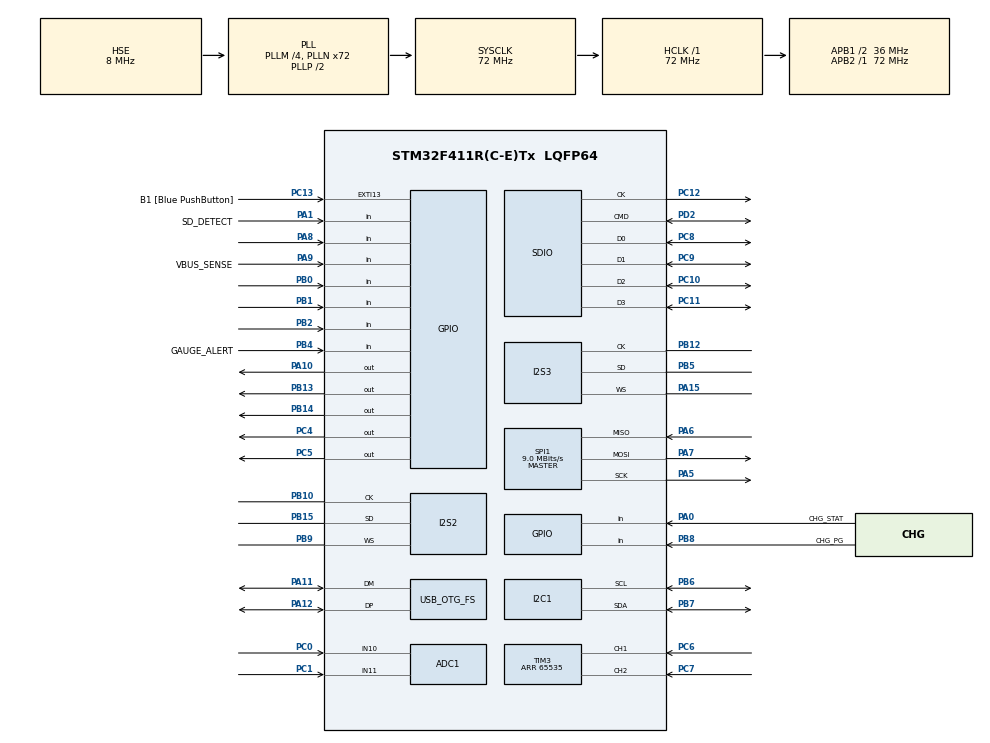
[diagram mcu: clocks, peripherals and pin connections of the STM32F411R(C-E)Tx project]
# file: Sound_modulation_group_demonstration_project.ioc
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ADC1.Channel-0\#ChannelRegularConversion=ADC_CHANNEL_10
ADC1.NbrOfConversion=1
ADC1.NbrOfConversionFlag=1
ADC1.Rank-0\#ChannelRegularConversion=1
ADC1.SamplingTime-0\#ChannelRegularConversion=ADC_SAMPLETIME_3CYCLES
ADC1.master=1
Dma.Request0=SPI3_TX
Dma.Request1=SPI2_RX
Dma.Request2=SDIO_RX
Dma.Request3=SDIO_TX
Dma.SDIO_RX.2.Direction=DMA_PERIPH_TO_MEMORY
Dma.SDIO_RX.2.FIFOMode=DMA_FIFOMODE_ENABLE
Dma.SDIO_RX.2.FIFOThreshold=DMA_FIFO_THRESHOLD_FULL
Dma.SDIO_RX.2.Instance=DMA2_Stream3
Dma.SDIO_RX.2.MemBurst=DMA_MBURST_INC4
Dma.SDIO_RX.2.MemDataAlignment=DMA_MDATAALIGN_WORD
Dma.SDIO_RX.2.MemInc=DMA_MINC_ENABLE
Dma.SDIO_RX.2.Mode=DMA_PFCTRL
Dma.SDIO_RX.2.PeriphBurst=DMA_PBURST_INC4
Dma.SDIO_RX.2.PeriphDataAlignment=DMA_PDATAALIGN_WORD
Dma.SDIO_RX.2.PeriphInc=DMA_PINC_DISABLE
Dma.SDIO_RX.2.Priority=DMA_PRIORITY_VERY_HIGH
Dma.SDIO_TX.3.Direction=DMA_MEMORY_TO_PERIPH
Dma.SDIO_TX.3.FIFOMode=DMA_FIFOMODE_ENABLE
Dma.SDIO_TX.3.FIFOThreshold=DMA_FIFO_THRESHOLD_FULL
Dma.SDIO_TX.3.Instance=DMA2_Stream6
Dma.SDIO_TX.3.MemBurst=DMA_MBURST_INC4
Dma.SDIO_TX.3.MemDataAlignment=DMA_MDATAALIGN_WORD
Dma.SDIO_TX.3.MemInc=DMA_MINC_ENABLE
Dma.SDIO_TX.3.Mode=DMA_PFCTRL
Dma.SDIO_TX.3.PeriphBurst=DMA_PBURST_INC4
Dma.SDIO_TX.3.PeriphDataAlignment=DMA_PDATAALIGN_WORD
Dma.SDIO_TX.3.PeriphInc=DMA_PINC_DISABLE
Dma.SDIO_TX.3.Priority=DMA_PRIORITY_VERY_HIGH
Dma.SPI2_RX.1.Direction=DMA_PERIPH_TO_MEMORY
Dma.SPI2_RX.1.FIFOMode=DMA_FIFOMODE_DISABLE
Dma.SPI2_RX.1.Instance=DMA1_Stream3
Dma.SPI2_RX.1.MemDataAlignment=DMA_MDATAALIGN_HALFWORD
Dma.SPI2_RX.1.MemInc=DMA_MINC_ENABLE
Dma.SPI2_RX.1.Mode=DMA_CIRCULAR
Dma.SPI2_RX.1.PeriphDataAlignment=DMA_PDATAALIGN_HALFWORD
Dma.SPI2_RX.1.PeriphInc=DMA_PINC_DISABLE
Dma.SPI2_RX.1.Priority=DMA_PRIORITY_LOW
Dma.SPI3_TX.0.Direction=DMA_MEMORY_TO_PERIPH
Dma.SPI3_TX.0.FIFOMode=DMA_FIFOMODE_DISABLE
Dma.SPI3_TX.0.Instance=DMA1_Stream5
Dma.SPI3_TX.0.MemDataAlignment=DMA_MDATAALIGN_HALFWORD
Dma.SPI3_TX.0.MemInc=DMA_MINC_ENABLE
Dma.SPI3_TX.0.Mode=DMA_CIRCULAR
Dma.SPI3_TX.0.PeriphDataAlignment=DMA_PDATAALIGN_HALFWORD
Dma.SPI3_TX.0.PeriphInc=DMA_PINC_DISABLE
Dma.SPI3_TX.0.Priority=DMA_PRIORITY_LOW
FATFS.BSP.number=1
FATFS._FS_REENTRANT=0
FATFS._USE_EXPAND=1
FATFS0.BSP.STBoard=false
FATFS0.BSP.api=Unknown
FATFS0.BSP.instance=PA1
FATFS0.BSP.ip=GPIO
FATFS0.BSP.mode=Input
FATFS0.BSP.name=Detect_SDIO
FATFS0.BSP.solution=PA1
FREERTOS.Tasks01=JackAudioTask,40,768,StartJackAudioTask,Default,NULL,Dynamic,NULL,NULL;TomTask,32,1024,StartTomTask,Default,NULL,Dynamic,NULL,NULL;JackStorageTask,24,1024,StartJackStorageTask,Default,NULL,Dynamic,NULL,NULL;BrendonTask,16,768,StartBrendonTask,Default,NULL,Dynamic,NULL,NULL;TonyTask,8,768,StartTonyTask,Default,NULL,Dynamic,NULL,NULL
FREERTOS.configCHECK_FOR_STACK_OVERFLOW=2
FREERTOS.configENABLE_FPU=1
FREERTOS.configTOTAL_HEAP_SIZE=28672
FREERTOS.configUSE_NEWLIB_REENTRANT=1
I2S2.AudioFreq=AudioFreqCustomValue
I2S2.AudioFreqCustom=64000
I2S2.ErrorAudioFreq=-0.26 %
I2S2.FullDuplexMode=I2S_FULLDUPLEXMODE_DISABLE
I2S2.Instance=SPI$Index
I2S2.Mode=I2S_MODE_MASTER_RX
I2S2.RealAudioFreq=63.829 KHz
I2S2.VirtualMode=I2S_MODE_MASTER
I2S3.AudioFreq=I2S_AUDIOFREQ_48K
I2S3.ErrorAudioFreq=-0.79 %
I2S3.FullDuplexMode=I2S_FULLDUPLEXMODE_DISABLE
I2S3.Instance=SPI$Index
I2S3.RealAudioFreq=47.619 KHz
I2S3.VirtualMode=I2S_MODE_MASTER
Mcu.Family=STM32F4
Mcu.Name=STM32F411R(C-E)Tx
Mcu.Package=LQFP64
NVIC.DMA1_Stream3_IRQn=true\:5\:0\:false\:false\:true\:true\:false\:true\:true
NVIC.DMA1_Stream5_IRQn=true\:5\:0\:false\:false\:true\:true\:false\:true\:true
NVIC.DMA2_Stream3_IRQn=true\:5\:0\:false\:false\:true\:true\:false\:true\:true
NVIC.DMA2_Stream6_IRQn=true\:5\:0\:false\:false\:true\:true\:false\:true\:true
NVIC.OTG_FS_IRQn=true\:6\:0\:true\:false\:true\:true\:false\:true\:true
NVIC.PriorityGroup=NVIC_PRIORITYGROUP_4
NVIC.SDIO_IRQn=true\:5\:0\:false\:false\:true\:true\:false\:true\:true
NVIC.TIM5_IRQn=true\:15\:0\:false\:false\:true\:false\:false\:true\:true
NVIC.TimeBase=TIM5_IRQn
NVIC.TimeBaseIP=TIM5
PA0-WKUP.GPIO_Label=CHG_STAT
PA0-WKUP.GPIO_PuPd=GPIO_PULLUP
PA0-WKUP.Signal=GPIO_Input
PA1.GPIO_Label=SD_DETECT
PA1.GPIO_PuPd=GPIO_PULLUP
PA1.Signal=GPIO_Input
PA10.Signal=GPIO_Output
PA11.Mode=Device_Only
PA11.Signal=USB_OTG_FS_DM
PA12.Mode=Device_Only
PA12.Signal=USB_OTG_FS_DP
PA13.GPIO_Label=TMS
PA13.Mode=Serial_Wire
PA13.Signal=SYS_JTMS-SWDIO
PA14.GPIO_Label=TCK
PA14.Mode=Serial_Wire
PA14.Signal=SYS_JTCK-SWCLK
PA15.Mode=Half_Duplex_Master
PA15.Signal=I2S3_WS
PA5.Mode=Full_Duplex_Master
PA5.Signal=SPI1_SCK
PA6.Mode=Full_Duplex_Master
PA6.Signal=SPI1_MISO
PA7.Mode=Full_Duplex_Master
PA7.Signal=SPI1_MOSI
PA8.GPIO_PuPd=GPIO_PULLUP
PA8.Signal=GPIO_Input
PA9.GPIO_Label=VBUS_SENSE
PA9.Signal=GPIO_Input
PB0.GPIO_PuPd=GPIO_PULLUP
PB0.Signal=GPIO_Input
PB1.GPIO_PuPd=GPIO_PULLUP
PB1.Signal=GPIO_Input
PB10.Mode=Half_Duplex_Master
PB10.Signal=I2S2_CK
PB12.Mode=Half_Duplex_Master
PB12.Signal=I2S3_CK
PB13.Signal=GPIO_Output
PB14.Signal=GPIO_Output
PB15.Mode=Half_Duplex_Master
PB15.Signal=I2S2_SD
PB2.GPIO_PuPd=GPIO_PULLUP
PB2.Signal=GPIO_Input
PB3.Signal=SYS_JTDO-SWO
PB4.GPIO_Label=GAUGE_ALERT
PB4.GPIO_PuPd=GPIO_PULLUP
PB4.Signal=GPIO_Input
PB5.Mode=Half_Duplex_Master
PB5.Signal=I2S3_SD
PB6.Mode=I2C
PB6.Signal=I2C1_SCL
PB7.Mode=I2C
PB7.Signal=I2C1_SDA
PB8.GPIO_Label=CHG_PG
PB8.GPIO_PuPd=GPIO_PULLUP
PB8.Signal=GPIO_Input
PB9.Mode=Half_Duplex_Master
PB9.Signal=I2S2_WS
PC0.Signal=ADCx_IN10
PC1.Signal=ADCx_IN11
PC10.GPIO_PuPd=GPIO_PULLUP
PC10.Mode=SD_4_bits_Wide_bus
PC10.Signal=SDIO_D2
PC11.GPIO_PuPd=GPIO_PULLUP
PC11.Mode=SD_4_bits_Wide_bus
PC11.Signal=SDIO_D3
PC12.Mode=SD_4_bits_Wide_bus
PC12.Signal=SDIO_CK
PC13-ANTI_TAMP.GPIO_Label=B1 [Blue PushButton]
PC13-ANTI_TAMP.GPIO_ModeDefaultEXTI=GPIO_MODE_IT_FALLING
PC13-ANTI_TAMP.Signal=GPXTI13
PC14-OSC32_IN.Signal=RCC_OSC32_IN
PC15-OSC32_OUT.Signal=RCC_OSC32_OUT
PC4.Signal=GPIO_Output
PC5.Signal=GPIO_Output
PC6.GPIO_PuPd=GPIO_PULLUP
PC6.Signal=S_TIM3_CH1
PC7.GPIO_PuPd=GPIO_PULLUP
PC7.Signal=S_TIM3_CH2
PC8.GPIO_PuPd=GPIO_PULLUP
PC8.Mode=SD_4_bits_Wide_bus
PC8.Signal=SDIO_D0
PC9.GPIO_PuPd=GPIO_PULLUP
PC9.Mode=SD_4_bits_Wide_bus
PC9.Signal=SDIO_D1
PD2.GPIO_PuPd=GPIO_PULLUP
PD2.Mode=SD_4_bits_Wide_bus
PD2.Signal=SDIO_CMD
PH0\ -\ OSC_IN.Mode=HSE-External-Oscillator
PH0\ -\ OSC_IN.Signal=RCC_OSC_IN
PH1\ -\ OSC_OUT.Mode=HSE-External-Oscillator
PH1\ -\ OSC_OUT.Signal=RCC_OSC_OUT
ProjectManager.HeapSize=0x200
ProjectManager.StackSize=0x400
ProjectManager.TargetToolchain=CMake
RCC.48MHZClocksFreq_Value=48000000
RCC.AHBFreq_Value=72000000
RCC.APB1CLKDivider=RCC_HCLK_DIV2
RCC.APB1Freq_Value=36000000
RCC.APB1TimFreq_Value=72000000
RCC.APB2Freq_Value=72000000
RCC.APB2TimFreq_Value=72000000
RCC.CortexFreq_Value=72000000
RCC.FLatency-AdvancedSettings=FLASH_LATENCY_2
RCC.HCLKFreq_Value=72000000
RCC.HSE_VALUE=8000000
RCC.HSI_VALUE=16000000
RCC.LSE_VALUE=32768
RCC.PLLI2SM=4
RCC.PLLI2SR=4
RCC.PLLM=4
RCC.PLLN=72
RCC.PLLQ=3
RCC.SYSCLKFreq_VALUE=72000000
RCC.SYSCLKSource=RCC_SYSCLKSOURCE_PLLCLK
RCC.VCOOutputFreq_Value=144000000
SDIO.ClockDiv=4
SDIO.HardwareFlowControl=SDIO_HARDWARE_FLOW_CONTROL_DISABLE
SH.ADCx_IN10.0=ADC1_IN10,IN10
SH.ADCx_IN11.0=ADC1_IN11,IN11
SH.S_TIM3_CH1.0=TIM3_CH1,Encoder_Interface
SH.S_TIM3_CH2.0=TIM3_CH2,Encoder_Interface
SPI1.BaudRatePrescaler=SPI_BAUDRATEPRESCALER_8
SPI1.CalculateBaudRate=9.0 MBits/s
SPI1.Direction=SPI_DIRECTION_2LINES
SPI1.Mode=SPI_MODE_MASTER
SPI1.VirtualType=VM_MASTER
TIM3.ClockDivision=TIM_CLOCKDIVISION_DIV4
TIM3.EncoderMode=TIM_ENCODERMODE_TI12
TIM3.IC1Filter=15
TIM3.IC2Filter=15
TIM3.Period=65535
USB_DEVICE.CLASS_NAME_FS=MSC
USB_DEVICE.VirtualMode=Msc
USB_DEVICE.VirtualModeFS=Msc_FS
USB_OTG_FS.VirtualMode=Device_Only
VP_CRC_VS_CRC.Mode=CRC_Activate
VP_FATFS_VS_SDIO.Mode=SDIO
VP_FREERTOS_VS_CMSIS_V2.Mode=CMSIS_V2
VP_SYS_VS_tim5.Mode=TIM5
VP_USB_DEVICE_VS_USB_DEVICE_MSC_FS.Mode=MSC_FS
board=NUCLEO-F411RE

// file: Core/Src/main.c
/* USER CODE BEGIN Header */
/**
  ******************************************************************************
  * @file           : main.c
  * @brief          : Main program body
  ******************************************************************************
  * @attention
  *
  * Copyright (c) 2026 STMicroelectronics.
  * All rights reserved.
  *
  * This software is licensed under terms that can be found in the LICENSE file
  * in the root directory of this software component.
  * If no LICENSE file comes with this software, it is provided AS-IS.
  *
  ******************************************************************************
  */
/* USER CODE END Header */
#include "main.h"
#include "cmsis_os.h"
#include "fatfs.h"

/* USER CODE BEGIN Includes */
/* TEAM CODE (integration: Brendon): headers of the team modules */
/* main.c is generated by STM32CubeMX from the .ioc. The team's code is only
 * in the USER CODE blocks, which CubeMX keeps when it regenerates the file.
 * What main() does at power-on, in order:
 *   1. HAL_Init, the HSE clock probe (USER CODE Init) and SystemClock_Config:
 *      a 72 MHz CPU clock made by the PLL from the 8 MHz HSE clock.
 *   2. MX_*_Init: every peripheral as set in the .ioc (pins, DMA, interrupts).
 *   3. USER CODE 2: each member's X_Init() (hardware and module state only:
 *      no queue exists yet).
 *   4. osKernelInitialize, then App_RTOS_Init (USER CODE RTOS_QUEUES): every
 *      queue, pool and semaphore of app_rtos.h, and the sixth task,
 *      FxRenderTask.
 *   5. The five generated osThreadNew calls: one per CubeMX task. Each runs
 *      its Start*Task function at the bottom of this file.
 *   6. osKernelStart: the FreeRTOS scheduler takes over and never returns.
 * The HAL callbacks in USER CODE 0 are where interrupts hand work to tasks
 * (HAL = ST's hardware driver library, the HAL_* functions).
 * The serial console (USART2, LogTask, the boot banner and the solo builds)
 * was removed on 1 Nov 2026; faults show on the TFT fault screen. */
#include "app_rtos.h"
#include "tony_ports.h"
#include "brendon_battery_usb.h"
#include "brendon_ports.h"
#include "jack_audio_sd.h"
#include "tom_dac_output.h"
#include "tony_ui.h"
/* USER CODE END Includes */

ADC_HandleTypeDef hadc1;

CRC_HandleTypeDef hcrc;

I2C_HandleTypeDef hi2c1;

I2S_HandleTypeDef hi2s2;
I2S_HandleTypeDef hi2s3;
DMA_HandleTypeDef hdma_spi2_rx;
DMA_HandleTypeDef hdma_spi3_tx;

SD_HandleTypeDef hsd;
DMA_HandleTypeDef hdma_sdio_rx;
DMA_HandleTypeDef hdma_sdio_tx;

SPI_HandleTypeDef hspi1;

TIM_HandleTypeDef htim3;

/* Definitions for JackAudioTask */
osThreadId_t JackAudioTaskHandle;
const osThreadAttr_t JackAudioTask_attributes = {
  .name = "JackAudioTask",
  .stack_size = 768 * 4,
  .priority = (osPriority_t) osPriorityHigh,
};
/* Definitions for TomTask */
osThreadId_t TomTaskHandle;
const osThreadAttr_t TomTask_attributes = {
  .name = "TomTask",
  .stack_size = 1024 * 4,
  .priority = (osPriority_t) osPriorityAboveNormal,
};
/* Definitions for JackStorageTask */
osThreadId_t JackStorageTaskHandle;
const osThreadAttr_t JackStorageTask_attributes = {
  .name = "JackStorageTask",
  .stack_size = 1024 * 4,
  .priority = (osPriority_t) osPriorityNormal,
};
/* Definitions for BrendonTask */
osThreadId_t BrendonTaskHandle;
const osThreadAttr_t BrendonTask_attributes = {
  .name = "BrendonTask",
  .stack_size = 768 * 4,
  .priority = (osPriority_t) osPriorityBelowNormal,
};
/* Definitions for TonyTask */
osThreadId_t TonyTaskHandle;
const osThreadAttr_t TonyTask_attributes = {
  .name = "TonyTask",
  .stack_size = 768 * 4,
  .priority = (osPriority_t) osPriorityLow,
};

void SystemClock_Config(void);
void PeriphCommonClock_Config(void);
static void MX_GPIO_Init(void);
static void MX_DMA_Init(void);
static void MX_ADC1_Init(void);
static void MX_CRC_Init(void);
static void MX_I2C1_Init(void);
static void MX_I2S2_Init(void);
static void MX_I2S3_Init(void);
static void MX_SDIO_SD_Init(void);
static void MX_SPI1_Init(void);
static void MX_TIM3_Init(void);
void StartJackAudioTask(void *argument);
void StartTomTask(void *argument);
void StartJackStorageTask(void *argument);
void StartBrendonTask(void *argument);
void StartTonyTask(void *argument);

/* USER CODE BEGIN PFP */
/* TEAM CODE (integration: Brendon): prototype for the HSE probe */
static void clock_probe_hse(void);
/* USER CODE END PFP */

/* USER CODE BEGIN 0 */
/* TEAM CODE (integration: Brendon): HSE clock probe and the HAL callbacks (callback owners marked below) */

/* ---- HSE source probe -------------------------------------------------------
 * HSE = the high-speed external clock input (pins OSC_IN / OSC_OUT); the PLL
 * turns its 8 MHz into the 72 MHz CPU clock (SystemClock_Config).
 * The .ioc is set up for the PCB: HSE = 8 MHz crystal (RCC_HSE_ON in
 * SystemClock_Config). The Nucleo-F411RE the team also tests on has no crystal
 * fitted; its 8 MHz comes from the ST-LINK MCO into OSC_IN, which needs BYPASS.
 * Rather than keeping two builds, probe before SystemClock_Config() runs:
 *   1) BYPASS (amplifier off, OSC_IN driven externally). This is the
 *      configuration every board test so far ran on. A passive crystal cannot
 *      produce a clock with the amplifier off, so on the PCB HSERDY stays 0.
 *   2) otherwise crystal mode (HSEBYP cleared).
 * Bypass is tried first because the reverse order is ambiguous: an MCO-driven
 * OSC_IN can also satisfy the crystal-mode amplifier. HAL_RCC_OscConfig() with
 * RCC_HSE_ON only sets HSEON and leaves HSEBYP as the probe left it, so the
 * generated code then brings the PLL up from whichever source started. Costs
 * at most HSE_STARTUP_TIMEOUT (100 ms) once, on the crystal board. */
static uint8_t hse_ready_within(uint32_t timeout_ms)
{
    uint32_t t0 = HAL_GetTick();
    while (READ_BIT(RCC->CR, RCC_CR_HSERDY) == 0U)
    {
        if ((HAL_GetTick() - t0) > timeout_ms)
        {
            return 0U;
        }
    }
    return 1U;
}

static void clock_probe_hse(void)
{
    /* 1) external clock on OSC_IN (Nucleo ST-LINK MCO) */
    CLEAR_BIT(RCC->CR, RCC_CR_HSEON);
    SET_BIT(RCC->CR, RCC_CR_HSEBYP);
    SET_BIT(RCC->CR, RCC_CR_HSEON);
    if (hse_ready_within(HSE_STARTUP_TIMEOUT))
    {
        return;   /* Nucleo: leave bypass mode set for SystemClock_Config() */
    }

    /* 2) crystal (PCB). HSEBYP may only change while HSE is off. */
    CLEAR_BIT(RCC->CR, RCC_CR_HSEON);
    while (READ_BIT(RCC->CR, RCC_CR_HSERDY) != 0U) { }
    CLEAR_BIT(RCC->CR, RCC_CR_HSEBYP);
    SET_BIT(RCC->CR, RCC_CR_HSEON);
    (void)hse_ready_within(HSE_STARTUP_TIMEOUT);   /* SystemClock_Config() re-checks; Error_Handler() if neither */
}

/* ---- HAL callbacks (ISR context). Rule: only flags, timeout-0 queue puts,
 * semaphore releases and pointer bookkeeping happen here — no text
 * formatting, no memcpy of audio (lecture 07). All IRQs that reach these run
 * at NVIC priority >= 5 (configLIBRARY_MAX_SYSCALL_INTERRUPT_PRIORITY). ---- */
/* ISR = interrupt service routine: the code the CPU runs when an interrupt
 * fires. The path is always the same: the peripheral's IRQ handler
 * (stm32f4xx_it.c) calls the HAL, the HAL calls one of the callbacks below,
 * and the callback sets a thread flag on the task that owns the peripheral.
 * That task wakes up in osThreadFlagsWait and does the real work at its own
 * priority. Why the callbacks do so little:
 *   - an ISR is not a task and can never wait, so a queue put from an ISR
 *     must use timeout 0 (the CMSIS-RTOS layer refuses any other timeout
 *     there); a full queue drops the item and counts it (slide 18);
 *   - while an ISR runs, every task and every less urgent interrupt waits,
 *     so it must be short: no text formatting (slow, and it needs a lot of
 *     stack) and no copying of audio;
 *   - handing over costs nothing: if the woken task outranks the one that
 *     was interrupted, FreeRTOS switches to it as soon as the ISR ends.
 * Why priority 5 or more: in the NVIC (the Cortex-M4's interrupt controller)
 * a LOWER number is MORE urgent (0..15 here). Inside its critical sections
 * FreeRTOS masks only priorities 5..15 (configMAX_SYSCALL_INTERRUPT_PRIORITY
 * in FreeRTOSConfig.h: the same 5, shifted into the NVIC register format),
 * so only those interrupts may call the FreeRTOS "FromISR" functions behind
 * osThreadFlagsSet and osMessageQueuePut. An interrupt at 0..4 could cut
 * into the kernel half-way through a change to its task lists and corrupt
 * them. Here (.ioc): the four DMA streams and SDIO at 5; OTG_FS (USB) at 6;
 * TIM5 (the HAL tick) and FreeRTOS's own SysTick and PendSV at 15.
 * Slide numbers in this file refer to ZEIT4230 lecture 07. "PD6" below is
 * the team's Prototype Design 6 stage, in which each member's code was moved
 * into its own FreeRTOS task (notes in the docs/pr folder). */

/* TEAM CODE (owner: Brendon): I2C1 fuel-gauge callbacks for BrendonTask */
/* I2C1 (BrendonTask owns it): memory-read/write complete or error -> flags.
 * Only reachable once CubeMX enables the I2C1 event + error interrupts
 * (see docs/pr/PD6-Brendon.md); until then the bus port uses the blocking
 * fallback and these callbacks are never entered. */
/* They would run in the I2C1 event / error interrupts (I2C1_EV_IRQn,
 * I2C1_ER_IRQn) and set BRENDON_I2C_DONE_FLAG or BRENDON_I2C_ERR_FLAG on
 * BrendonTask (brendon_ports.c), which waits for one of them per transfer. */
void HAL_I2C_MemRxCpltCallback(I2C_HandleTypeDef *hi2c)
{
    if (hi2c->Instance == I2C1) BrendonPorts_I2cDoneISR();
}
void HAL_I2C_MemTxCpltCallback(I2C_HandleTypeDef *hi2c)
{
    if (hi2c->Instance == I2C1) BrendonPorts_I2cDoneISR();
}
void HAL_I2C_ErrorCallback(I2C_HandleTypeDef *hi2c)
{
    if (hi2c->Instance == I2C1) BrendonPorts_I2cErrorISR();
}

/* TEAM CODE (owner: Tony): SPI1 and ADC1 callbacks for TonyTask (written by Brendon in the PD6 port) */
/* SPI1 / ADC1 (TonyTask owns both): transfer / conversion complete -> flags.
 * Only reachable once CubeMX enables the SPI1 and ADC global interrupts
 * (docs/pr/PD6-Tony.md); until then tony_ports.c uses the blocking fallback
 * and these callbacks are never entered. */
/* They would run in SPI1_IRQn / ADC_IRQn and set TONY_SPI_DONE_FLAG or
 * TONY_ADC_DONE_FLAG on TonyTask, which waits for it per transfer. */
void HAL_SPI_TxCpltCallback(SPI_HandleTypeDef *hspi)
{
    if (hspi->Instance == SPI1) TonyPorts_SpiDoneISR();
}
void HAL_ADC_ConvCpltCallback(ADC_HandleTypeDef *hadc)
{
    if (hadc->Instance == ADC1) TonyPorts_AdcDoneISR();
}

/* TEAM CODE (owner: Jack): I2S2 microphone DMA callbacks for JackAudioTask (written by Brendon in the PD6 port) */
/* I2S2 RX DMA (JackAudioTask owns it): half/full -> thread flags. The task
 * treats both bits pending at once as a missed deadline (slide 9). */
/* Both run in DMA1_Stream3_IRQHandler (priority 5) through HAL_DMA_IRQHandler.
 * I2S is a serial audio bus; here I2S2 clocks the PDM microphone (PB10 clock,
 * PB15 data). PDM = pulse density modulation: the mic sends a 1-bit stream,
 * which JackAudioTask's PDM2PCM filter turns into normal 16-bit samples
 * (PCM). DMA = direct memory access: hardware that copies the bits into
 * s_pdm_buffer (jack_audio_sd.c) without the CPU, round and round (circular):
 *   half-transfer     -> JACK_AUDIO_HALF_FLAG: the first half is full;
 *   transfer-complete -> JACK_AUDIO_FULL_FLAG: the second half is full.
 * Each half is about 1 ms of microphone bits (32 PCM samples). The task
 * converts the full half while the DMA fills the other one.
 * Where 1 ms and 32 come from: I2S2 is set to 64 kHz with 32-bit frames, so
 * the mic gets a clock of about 2 MHz and sends that many bits a second. A
 * half holds 128 x 16 = 2048 bits (about 1 ms); the filter keeps one sample
 * per 64 bits (decimation by 64), so 32 samples: audio at 32 kHz. */
void HAL_I2S_RxHalfCpltCallback(I2S_HandleTypeDef *hi2s)
{
    if (hi2s->Instance == SPI2 && JackAudioTaskHandle != NULL) {
        (void)osThreadFlagsSet(JackAudioTaskHandle, JACK_AUDIO_HALF_FLAG);
    }
}
void HAL_I2S_RxCpltCallback(I2S_HandleTypeDef *hi2s)
{
    if (hi2s->Instance == SPI2 && JackAudioTaskHandle != NULL) {
        (void)osThreadFlagsSet(JackAudioTaskHandle, JACK_AUDIO_FULL_FLAG);
    }
}

/* TEAM CODE (owner: Tom): I2S3 speaker DMA callbacks for TomTask (written by Brendon in the PD6 port) */
/* I2S3 TX DMA (TomTask owns it): circular double buffer, half/full -> flags
 * telling Tom which half was just released for refilling. */
/* Both run in DMA1_Stream5_IRQHandler (priority 5) through HAL_DMA_IRQHandler.
 * The circular DMA sends s_tx_buffer (tom_dac_output.c) round and round to
 * the DAC (digital-to-analogue converter: the I2S chip that drives the
 * speakers); each half is 4 ms of sound (192 stereo frames at 48 kHz; the
 * .ioc shows that the I2S clock divider really gives 47.62 kHz, 0.8 % slow):
 *   half-transfer     -> TOM_DAC_HALF_FLAG: the first half has been sent and
 *                        the DMA now plays the second, so refill the first;
 *   transfer-complete -> TOM_DAC_FULL_FLAG: the second half has been sent and
 *                        the DMA is back at the first, so refill the second.
 * TomTask has 4 ms to refill a half before the DMA reaches it again. */
void HAL_I2S_TxHalfCpltCallback(I2S_HandleTypeDef *hi2s)
{
    if (hi2s->Instance == SPI3 && TomTaskHandle != NULL) {
        (void)osThreadFlagsSet(TomTaskHandle, TOM_DAC_HALF_FLAG);
    }
}
void HAL_I2S_TxCpltCallback(I2S_HandleTypeDef *hi2s)
{
    if (hi2s->Instance == SPI3 && TomTaskHandle != NULL) {
        (void)osThreadFlagsSet(TomTaskHandle, TOM_DAC_FULL_FLAG);
    }
}

/* USER CODE END 0 */

int main(void)
{

  /* MCU Configuration--------------------------------------------------------*/

  /* Reset of all peripherals, Initializes the Flash interface and the Systick. */
  HAL_Init();

  /* USER CODE BEGIN Init */
  /* TEAM CODE (integration: Brendon): run the HSE probe before SystemClock_Config() */
  /* It must come first: SystemClock_Config() only switches the HSE on and
   * starts the PLL from it; crystal or bypass mode (the HSEBYP bit) is
   * whatever this probe has left set for the board it found. */
  clock_probe_hse();   /* PCB crystal, or Nucleo MCO bypass — see USER CODE 0 */
  /* USER CODE END Init */

  /* Configure the system clock */
  SystemClock_Config();

  /* Configure the peripherals common clocks */
  PeriphCommonClock_Config();

  /* Initialize all configured peripherals */
  MX_GPIO_Init();
  MX_DMA_Init();
  MX_ADC1_Init();
  MX_CRC_Init();
  MX_I2C1_Init();
  MX_I2S2_Init();
  MX_I2S3_Init();
  MX_SDIO_SD_Init();
  MX_SPI1_Init();
  MX_FATFS_Init();
  MX_TIM3_Init();
  /* USER CODE BEGIN 2 */
  /* TEAM CODE (integration: Brendon): board notes (comments), then the start-up code below (owners marked) */

  /* Pull-ups: PB2 (REC button) is generated with GPIO_PULLUP in
   * MX_GPIO_Init() above; the SDIO D0-D3/CMD pull-ups live in the generated
   * HAL_SD_MspInit() (all from the .ioc). The old hand-written block here was
   * overwritten for the SDIO lines anyway: HAL_SD_Init() re-runs
   * HAL_SD_MspInit(), which used to set GPIO_NOPULL.
   * PA1 (SD_DETECT, pull-up from the .ioc) is an active-LOW switch: measured
   * 24 Sep 2026, 0 V with a card and 3.3 V without. LOW = card present
   * (Core/Src/sd_detect_override.c, jack_audio_sd.c, brendon_ports.c). */

  /* ===== SDIO (USB-MSC / recording SD card, shared by Brendon and Jack) =====
   * SDIO = the MCU's SD-card interface (a clock, a command line, data D0-D3).
   * FatFs = the FAT file-system library that Jack's recorder uses (f_mount,
   * f_open, ...); USB-MSC = USB Mass Storage, the card shown to a PC as a drive.
   * Everything the card needs is now in the generated code + the .ioc:
   *   - flow control OFF (STM32F4 SDIO errata: HW flow control glitches
   *     SDIO_CK and produces CRC errors);
   *   - ClockDiv 4 -> 8 MHz transfer clock (48 MHz / (4 + 2)), on the 4-bit
   *     bus when the bring-up's read test passes, else 1-bit (HAL_SD_Init
   *     identifies the card at 400 kHz by itself, so a slow Init.ClockDiv is
   *     NOT needed for a reliable f_mount — the old "ClockDiv 118" patch here
   *     left the card at 400 kHz for every transfer afterwards);
   *   - DMA2 stream 3/6 + SDIO_IRQn (stm32f4xx_hal_msp.c / stm32f4xx_it.c),
   *     which the FatFs disk layer Core/Src/sd_diskio_rtos.c needs: it reads
   *     and writes through BSP_SD_ReadBlocks_DMA / BSP_SD_WriteBlocks_DMA. (The
   *     CubeMX DMA template FATFS/Target/sd_diskio.c is no longer compiled.)
   * Do NOT call HAL_SD_Init here — BSP_SD_Init (Core/Src/sd_detect_override.c,
   * reached through f_mount from JackStorageTask) does that. */

  /* TEAM CODE (owner: Tom): switch the I2S3 speaker DMA to circular mode (May 2026) */
  /* -------------------------------------------------------------------
   * 3) I2S3 DAC DMA was generated as DMA_CIRCULAR for
   *    continuous audio playback — otherwise HAL_I2S_Transmit_DMA plays the buffer once (8 ms now) and stops,
   *    leaving the 3 I2S lines (CK, WS, SD) all silent.
   * ------------------------------------------------------------------ */
  /* The .ioc now generates DMA_CIRCULAR itself (HAL_I2S_MspInit in
   * stm32f4xx_hal_msp.c), so the re-init below only repeats that setting and
   * stays as a safety net. TomTask starts this DMA once and never stops it,
   * so circular mode is what keeps the speakers fed. */
  HAL_DMA_DeInit(&hdma_spi3_tx);
  hdma_spi3_tx.Init.Mode = DMA_CIRCULAR;
  /* The result is not checked: this only repeats what the generated init
   * already did, and a failure here used to be only logged. If it ever
   * failed, TomTask could not start the speaker DMA and would show the
   * "Speaker DMA failed" fault. */
  (void)HAL_DMA_Init(&hdma_spi3_tx);
  __HAL_LINKDMA(&hi2s3, hdmatx, hdma_spi3_tx);

  /* TEAM CODE (integration: Brendon): each member's X_Init() call (Tony added the TIM3 handle to Tony_Init) */
  /* Pre-kernel X_Init() calls: hardware + module state only, NO RTOS objects
   * (those are created in App_RTOS_Init() below and first touched inside each
   * X_TaskEntry()). Tony first so the splash shows during the slower inits. */
  /* Waiting is fine here (HAL_Delay in the TFT reset and the gauge probe):
   * no task runs yet, so nothing else can be held up. */
  Tony_Init(&hspi1, &hadc1, &htim3);
  /* Brendon_Init probes the I2C1 fuel gauge. The USB device stack is started
   * later by BrendonTask, only while VBUS_SENSE (PA9) is high. */
  Brendon_Init(&hi2c1);
  /* Jack_Init also sets up the storage status JackStorageTask works with. */
  Jack_Init(&hi2s2);   /* PDM2PCM filter config; the DMA is started by JackAudioTask on command */
  Tom_Init(&hi2s3);    /* zero the double buffer; the circular DMA is started once by TomTask */

  /* Next, in the generated code below: osKernelInitialize(), App_RTOS_Init()
   * (USER CODE RTOS_QUEUES), the five osThreadNew() calls and osKernelStart().
   * No task runs before osKernelStart(); then the highest-priority task that
   * is ready runs first. */
  /* USER CODE END 2 */

  /* Init scheduler */
  osKernelInitialize();

  /* USER CODE BEGIN RTOS_QUEUES */
  /* TEAM CODE (integration: Brendon): create every shared queue, pool and semaphore */
  /* Every shared queue / pool / semaphore of the firmware (app_rtos.h) is
   * created here, after the kernel is initialised and before any task exists. */
  /* Why exactly here: CMSIS-RTOS v2 needs osKernelInitialize() (above) before
   * any object is created, and with every object made before the first task,
   * each task can use its queues from its very first line. App_RTOS_Init()
   * also creates the sixth task, FxRenderTask (CubeMX does not know it).
   * The five osThreadNew() calls below are generated from the .ioc, which
   * fixes each task's priority and stack (task map: app_rtos.h). The two
   * audio tasks, whose DMA halves come every 1 ms and 4 ms, get the highest
   * priorities: JackAudioTask High, TomTask AboveNormal. */
  App_RTOS_Init();
  /* USER CODE END RTOS_QUEUES */

  /* Create the thread(s) */
  /* creation of JackAudioTask */
  JackAudioTaskHandle = osThreadNew(StartJackAudioTask, NULL, &JackAudioTask_attributes);

  /* creation of TomTask */
  TomTaskHandle = osThreadNew(StartTomTask, NULL, &TomTask_attributes);

  /* creation of JackStorageTask */
  JackStorageTaskHandle = osThreadNew(StartJackStorageTask, NULL, &JackStorageTask_attributes);

  /* creation of BrendonTask */
  BrendonTaskHandle = osThreadNew(StartBrendonTask, NULL, &BrendonTask_attributes);

  /* creation of TonyTask */
  TonyTaskHandle = osThreadNew(StartTonyTask, NULL, &TonyTask_attributes);

  /* Start scheduler */
  osKernelStart();

  /* We should never get here as control is now taken by the scheduler */

  /* Infinite loop */
  /* USER CODE BEGIN WHILE */
  /* TEAM CODE (integration: Brendon): comment only - the super-loop is never reached */
  while (1)
  {
    /* Never reached: osKernelStart() above hands control to the scheduler.
     * The former cooperative super-loop (Jack/Tom/Tony/Brendon _Task()) is
     * now the five FreeRTOS tasks below — see docs/RTOS_ARCHITECTURE.md.
     * (A sixth, FxRenderTask, is newer work and starts in App_RTOS_Init.) */

    /* USER CODE END WHILE */

  }
}

void SystemClock_Config(void)
{
  RCC_OscInitTypeDef RCC_OscInitStruct = {0};
  RCC_ClkInitTypeDef RCC_ClkInitStruct = {0};

  /** Configure the main internal regulator output voltage
  */
  __HAL_RCC_PWR_CLK_ENABLE();
  __HAL_PWR_VOLTAGESCALING_CONFIG(PWR_REGULATOR_VOLTAGE_SCALE1);

  /** Initializes the RCC Oscillators according to the specified parameters
  * in the RCC_OscInitTypeDef structure.
  */
  RCC_OscInitStruct.OscillatorType = RCC_OSCILLATORTYPE_HSE;
  RCC_OscInitStruct.HSEState = RCC_HSE_ON;
  RCC_OscInitStruct.PLL.PLLState = RCC_PLL_ON;
  RCC_OscInitStruct.PLL.PLLSource = RCC_PLLSOURCE_HSE;
  RCC_OscInitStruct.PLL.PLLM = 4;
  RCC_OscInitStruct.PLL.PLLN = 72;
  RCC_OscInitStruct.PLL.PLLP = RCC_PLLP_DIV2;
  RCC_OscInitStruct.PLL.PLLQ = 3;
  if (HAL_RCC_OscConfig(&RCC_OscInitStruct) != HAL_OK)
  {
    Error_Handler();
  }

  /** Initializes the CPU, AHB and APB buses clocks
  */
  RCC_ClkInitStruct.ClockType = RCC_CLOCKTYPE_HCLK|RCC_CLOCKTYPE_SYSCLK
                              |RCC_CLOCKTYPE_PCLK1|RCC_CLOCKTYPE_PCLK2;
  RCC_ClkInitStruct.SYSCLKSource = RCC_SYSCLKSOURCE_PLLCLK;
  RCC_ClkInitStruct.AHBCLKDivider = RCC_SYSCLK_DIV1;
  RCC_ClkInitStruct.APB1CLKDivider = RCC_HCLK_DIV2;
  RCC_ClkInitStruct.APB2CLKDivider = RCC_HCLK_DIV1;

  if (HAL_RCC_ClockConfig(&RCC_ClkInitStruct, FLASH_LATENCY_2) != HAL_OK)
  {
    Error_Handler();
  }
}

void PeriphCommonClock_Config(void)
{
  RCC_PeriphCLKInitTypeDef PeriphClkInitStruct = {0};

  /** Initializes the peripherals clock
  */
  PeriphClkInitStruct.PeriphClockSelection = RCC_PERIPHCLK_I2S;
  PeriphClkInitStruct.PLLI2S.PLLI2SN = 192;
  PeriphClkInitStruct.PLLI2S.PLLI2SM = 4;
  PeriphClkInitStruct.PLLI2S.PLLI2SR = 4;
  if (HAL_RCCEx_PeriphCLKConfig(&PeriphClkInitStruct) != HAL_OK)
  {
    Error_Handler();
  }
}

static void MX_ADC1_Init(void)
{

  ADC_ChannelConfTypeDef sConfig = {0};

  /** Configure the global features of the ADC (Clock, Resolution, Data Alignment and number of conversion)
  */
  hadc1.Instance = ADC1;
  hadc1.Init.ClockPrescaler = ADC_CLOCK_SYNC_PCLK_DIV2;
  hadc1.Init.Resolution = ADC_RESOLUTION_12B;
  hadc1.Init.ScanConvMode = DISABLE;
  hadc1.Init.ContinuousConvMode = DISABLE;
  hadc1.Init.DiscontinuousConvMode = DISABLE;
  hadc1.Init.ExternalTrigConvEdge = ADC_EXTERNALTRIGCONVEDGE_NONE;
  hadc1.Init.ExternalTrigConv = ADC_SOFTWARE_START;
  hadc1.Init.DataAlign = ADC_DATAALIGN_RIGHT;
  hadc1.Init.NbrOfConversion = 1;
  hadc1.Init.DMAContinuousRequests = DISABLE;
  hadc1.Init.EOCSelection = ADC_EOC_SINGLE_CONV;
  if (HAL_ADC_Init(&hadc1) != HAL_OK)
  {
    Error_Handler();
  }

  /** Configure for the selected ADC regular channel its corresponding rank in the sequencer and its sample time.
  */
  sConfig.Channel = ADC_CHANNEL_10;
  sConfig.Rank = 1;
  sConfig.SamplingTime = ADC_SAMPLETIME_3CYCLES;
  if (HAL_ADC_ConfigChannel(&hadc1, &sConfig) != HAL_OK)
  {
    Error_Handler();
  }

}

static void MX_CRC_Init(void)
{

  hcrc.Instance = CRC;
  if (HAL_CRC_Init(&hcrc) != HAL_OK)
  {
    Error_Handler();
  }

}

static void MX_I2C1_Init(void)
{

  hi2c1.Instance = I2C1;
  hi2c1.Init.ClockSpeed = 100000;
  hi2c1.Init.DutyCycle = I2C_DUTYCYCLE_2;
  hi2c1.Init.OwnAddress1 = 0;
  hi2c1.Init.AddressingMode = I2C_ADDRESSINGMODE_7BIT;
  hi2c1.Init.DualAddressMode = I2C_DUALADDRESS_DISABLE;
  hi2c1.Init.OwnAddress2 = 0;
  hi2c1.Init.GeneralCallMode = I2C_GENERALCALL_DISABLE;
  hi2c1.Init.NoStretchMode = I2C_NOSTRETCH_DISABLE;
  if (HAL_I2C_Init(&hi2c1) != HAL_OK)
  {
    Error_Handler();
  }
  /* USER CODE BEGIN I2C1_Init 2 */
  /* TEAM CODE (owner: Brendon): comment only - fuel-gauge I2C bus notes */
  /* ===== Brendon: fuel-gauge I2C bus =====
   * This is the BQ34Z100-G1 gauge bus (PD2 req 2.1). Standard-mode 100 kHz,
   * 7-bit addressing — the gauge's 7-bit address 0x55 is left-shifted by the
   * driver into the HAL's 8-bit form 0xAA (BQ_ADDR in brendon_ports.c). Polled, no
   * IRQ/DMA. Pins PB6=SCL / PB7=SDA (AF4, open-drain) are set in
   * stm32f4xx_hal_msp.c. The gauge is probed by Brendon_Init() (before the
   * kernel) and read by BrendonTask (Brendon_TaskEntry) in brendon_battery_usb.c.
   * Polled because the .ioc enables no I2C1 interrupt: brendon_ports.c then
   * uses blocking HAL calls (100 ms timeout) inside BrendonTask, and it
   * switches to the _IT calls + thread flags by itself once both I2C1
   * interrupts are enabled.
   * Words: I2C = a two-wire bus (clock SCL, data SDA); the fuel gauge is the
   * chip that measures the battery (voltage, current, state of charge); PD2 =
   * the team's Prototype Design 2 document, which numbers the requirements. */
  /* USER CODE END I2C1_Init 2 */

}

static void MX_I2S2_Init(void)
{

  hi2s2.Instance = SPI2;
  hi2s2.Init.Mode = I2S_MODE_MASTER_RX;
  hi2s2.Init.Standard = I2S_STANDARD_PHILIPS;
  hi2s2.Init.DataFormat = I2S_DATAFORMAT_16B;
  hi2s2.Init.MCLKOutput = I2S_MCLKOUTPUT_DISABLE;
  hi2s2.Init.AudioFreq = 64000;
  hi2s2.Init.CPOL = I2S_CPOL_LOW;
  hi2s2.Init.ClockSource = I2S_CLOCK_PLL;
  hi2s2.Init.FullDuplexMode = I2S_FULLDUPLEXMODE_DISABLE;
  if (HAL_I2S_Init(&hi2s2) != HAL_OK)
  {
    Error_Handler();
  }

}

static void MX_I2S3_Init(void)
{

  hi2s3.Instance = SPI3;
  hi2s3.Init.Mode = I2S_MODE_MASTER_TX;
  hi2s3.Init.Standard = I2S_STANDARD_PHILIPS;
  hi2s3.Init.DataFormat = I2S_DATAFORMAT_16B;
  hi2s3.Init.MCLKOutput = I2S_MCLKOUTPUT_DISABLE;
  hi2s3.Init.AudioFreq = I2S_AUDIOFREQ_48K;
  hi2s3.Init.CPOL = I2S_CPOL_LOW;
  hi2s3.Init.ClockSource = I2S_CLOCK_PLL;
  hi2s3.Init.FullDuplexMode = I2S_FULLDUPLEXMODE_DISABLE;
  if (HAL_I2S_Init(&hi2s3) != HAL_OK)
  {
    Error_Handler();
  }

}

static void MX_SDIO_SD_Init(void)
{

  hsd.Instance = SDIO;
  hsd.Init.ClockEdge = SDIO_CLOCK_EDGE_RISING;
  hsd.Init.ClockBypass = SDIO_CLOCK_BYPASS_DISABLE;
  hsd.Init.ClockPowerSave = SDIO_CLOCK_POWER_SAVE_DISABLE;
  hsd.Init.BusWide = SDIO_BUS_WIDE_1B;
  hsd.Init.HardwareFlowControl = SDIO_HARDWARE_FLOW_CONTROL_DISABLE;
  hsd.Init.ClockDiv = 4;
  /* USER CODE BEGIN SDIO_Init 2 */
  /* TEAM CODE (integration: Brendon): comment only - how the shared SD card is brought up */
  /* ===== SD backing store: Jack's recorder (FATFS) + Brendon's USB-MSC =====
   * This generated init only POPULATES hsd.Init (1-bit bus, ClockDiv 4 =
   * 8 MHz transfer clock, flow control off); it does NOT call HAL_SD_Init().
   * The card is brought up from thread context: JackStorageTask -> f_mount ->
   * BSP_SD_Init (Core/Src/sd_detect_override.c), and after the "eject-to-use"
   * hand-over by BrendonTask's MSC_Poll() (PD5b_Brendon/Application/msc_store.c,
   * through brendon_ports.c) for USB Mass Storage (PD2 reqs 2.14-2.16). Both
   * use this clock, on the 4-bit bus when BSP_SD_Init's 4-bit read test
   * passed, else on the 1-bit bus (SD_Bus4BitStatus() in sd_bsp_override.h).
   * "Eject-to-use": JackStorageTask unmounts the card (and sets
   * g_msc_media_ready) before the PC may use it, so the card never has two
   * owners at once. */
  /* USER CODE END SDIO_Init 2 */

}

static void MX_SPI1_Init(void)
{

  /* SPI1 parameter configuration*/
  hspi1.Instance = SPI1;
  hspi1.Init.Mode = SPI_MODE_MASTER;
  hspi1.Init.Direction = SPI_DIRECTION_2LINES;
  hspi1.Init.DataSize = SPI_DATASIZE_8BIT;
  hspi1.Init.CLKPolarity = SPI_POLARITY_LOW;
  hspi1.Init.CLKPhase = SPI_PHASE_1EDGE;
  hspi1.Init.NSS = SPI_NSS_SOFT;
  hspi1.Init.BaudRatePrescaler = SPI_BAUDRATEPRESCALER_8;
  hspi1.Init.FirstBit = SPI_FIRSTBIT_MSB;
  hspi1.Init.TIMode = SPI_TIMODE_DISABLE;
  hspi1.Init.CRCCalculation = SPI_CRCCALCULATION_DISABLE;
  hspi1.Init.CRCPolynomial = 10;
  if (HAL_SPI_Init(&hspi1) != HAL_OK)
  {
    Error_Handler();
  }

}

static void MX_TIM3_Init(void)
{

  TIM_Encoder_InitTypeDef sConfig = {0};
  TIM_MasterConfigTypeDef sMasterConfig = {0};

  htim3.Instance = TIM3;
  htim3.Init.Prescaler = 0;
  htim3.Init.CounterMode = TIM_COUNTERMODE_UP;
  htim3.Init.Period = 65535;
  htim3.Init.ClockDivision = TIM_CLOCKDIVISION_DIV4;
  htim3.Init.AutoReloadPreload = TIM_AUTORELOAD_PRELOAD_DISABLE;
  sConfig.EncoderMode = TIM_ENCODERMODE_TI12;
  sConfig.IC1Polarity = TIM_ICPOLARITY_RISING;
  sConfig.IC1Selection = TIM_ICSELECTION_DIRECTTI;
  sConfig.IC1Prescaler = TIM_ICPSC_DIV1;
  sConfig.IC1Filter = 15;
  sConfig.IC2Polarity = TIM_ICPOLARITY_RISING;
  sConfig.IC2Selection = TIM_ICSELECTION_DIRECTTI;
  sConfig.IC2Prescaler = TIM_ICPSC_DIV1;
  sConfig.IC2Filter = 15;
  if (HAL_TIM_Encoder_Init(&htim3, &sConfig) != HAL_OK)
  {
    Error_Handler();
  }
  sMasterConfig.MasterOutputTrigger = TIM_TRGO_RESET;
  sMasterConfig.MasterSlaveMode = TIM_MASTERSLAVEMODE_DISABLE;
  if (HAL_TIMEx_MasterConfigSynchronization(&htim3, &sMasterConfig) != HAL_OK)
  {
    Error_Handler();
  }

}

static void MX_DMA_Init(void)
{

  /* DMA controller clock enable */
  __HAL_RCC_DMA1_CLK_ENABLE();
  __HAL_RCC_DMA2_CLK_ENABLE();

  /* DMA interrupt init */
  /* DMA1_Stream3_IRQn interrupt configuration */
  HAL_NVIC_SetPriority(DMA1_Stream3_IRQn, 5, 0);
  HAL_NVIC_EnableIRQ(DMA1_Stream3_IRQn);
  /* DMA1_Stream5_IRQn interrupt configuration */
  HAL_NVIC_SetPriority(DMA1_Stream5_IRQn, 5, 0);
  HAL_NVIC_EnableIRQ(DMA1_Stream5_IRQn);
  /* DMA2_Stream3_IRQn interrupt configuration */
  HAL_NVIC_SetPriority(DMA2_Stream3_IRQn, 5, 0);
  HAL_NVIC_EnableIRQ(DMA2_Stream3_IRQn);
  /* DMA2_Stream6_IRQn interrupt configuration */
  HAL_NVIC_SetPriority(DMA2_Stream6_IRQn, 5, 0);
  HAL_NVIC_EnableIRQ(DMA2_Stream6_IRQn);

}

static void MX_GPIO_Init(void)
{
  GPIO_InitTypeDef GPIO_InitStruct = {0};

  /* GPIO Ports Clock Enable */
  __HAL_RCC_GPIOC_CLK_ENABLE();
  __HAL_RCC_GPIOH_CLK_ENABLE();
  __HAL_RCC_GPIOA_CLK_ENABLE();
  __HAL_RCC_GPIOB_CLK_ENABLE();
  __HAL_RCC_GPIOD_CLK_ENABLE();

  /*Configure GPIO pin Output Level */
  HAL_GPIO_WritePin(GPIOC, GPIO_PIN_4|GPIO_PIN_5, GPIO_PIN_RESET);

  /*Configure GPIO pin Output Level */
  HAL_GPIO_WritePin(GPIOB, GPIO_PIN_13|GPIO_PIN_14, GPIO_PIN_RESET);

  /*Configure GPIO pin Output Level */
  HAL_GPIO_WritePin(GPIOA, GPIO_PIN_10, GPIO_PIN_RESET);

  /*Configure GPIO pin : B1_Pin */
  GPIO_InitStruct.Pin = B1_Pin;
  GPIO_InitStruct.Mode = GPIO_MODE_IT_FALLING;
  GPIO_InitStruct.Pull = GPIO_NOPULL;
  HAL_GPIO_Init(B1_GPIO_Port, &GPIO_InitStruct);

  /*Configure GPIO pins : CHG_STAT_Pin SD_DETECT_Pin PA8 */
  GPIO_InitStruct.Pin = CHG_STAT_Pin|SD_DETECT_Pin|GPIO_PIN_8;
  GPIO_InitStruct.Mode = GPIO_MODE_INPUT;
  GPIO_InitStruct.Pull = GPIO_PULLUP;
  HAL_GPIO_Init(GPIOA, &GPIO_InitStruct);

  /*Configure GPIO pins : PC4 PC5 */
  GPIO_InitStruct.Pin = GPIO_PIN_4|GPIO_PIN_5;
  GPIO_InitStruct.Mode = GPIO_MODE_OUTPUT_PP;
  GPIO_InitStruct.Pull = GPIO_NOPULL;
  GPIO_InitStruct.Speed = GPIO_SPEED_FREQ_LOW;
  HAL_GPIO_Init(GPIOC, &GPIO_InitStruct);

  /*Configure GPIO pins : PB0 PB1 PB2 GAUGE_ALERT_Pin
                           CHG_PG_Pin */
  GPIO_InitStruct.Pin = GPIO_PIN_0|GPIO_PIN_1|GPIO_PIN_2|GAUGE_ALERT_Pin
                          |CHG_PG_Pin;
  GPIO_InitStruct.Mode = GPIO_MODE_INPUT;
  GPIO_InitStruct.Pull = GPIO_PULLUP;
  HAL_GPIO_Init(GPIOB, &GPIO_InitStruct);

  /*Configure GPIO pins : PB13 PB14 */
  GPIO_InitStruct.Pin = GPIO_PIN_13|GPIO_PIN_14;
  GPIO_InitStruct.Mode = GPIO_MODE_OUTPUT_PP;
  GPIO_InitStruct.Pull = GPIO_NOPULL;
  GPIO_InitStruct.Speed = GPIO_SPEED_FREQ_LOW;
  HAL_GPIO_Init(GPIOB, &GPIO_InitStruct);

  /*Configure GPIO pin : VBUS_SENSE_Pin */
  GPIO_InitStruct.Pin = VBUS_SENSE_Pin;
  GPIO_InitStruct.Mode = GPIO_MODE_INPUT;
  GPIO_InitStruct.Pull = GPIO_NOPULL;
  HAL_GPIO_Init(VBUS_SENSE_GPIO_Port, &GPIO_InitStruct);

  /*Configure GPIO pin : PA10 */
  GPIO_InitStruct.Pin = GPIO_PIN_10;
  GPIO_InitStruct.Mode = GPIO_MODE_OUTPUT_PP;
  GPIO_InitStruct.Pull = GPIO_NOPULL;
  GPIO_InitStruct.Speed = GPIO_SPEED_FREQ_LOW;
  HAL_GPIO_Init(GPIOA, &GPIO_InitStruct);

}

void StartJackAudioTask(void *argument)
{
  /* USER CODE BEGIN 5 */
  /* TEAM CODE (integration: Brendon): run Jack's JackAudioTask */
  /* JackAudioTask (High, 768-word stack): owns I2S2 and its DMA (the PDM
   * microphone). It starts or stops the DMA when JackStorageTask asks
   * (JACK_AUDIO_CMD_FLAG); on each HALF / FULL flag it turns that half into
   * 32 PCM samples and puts them on pcmFrameQueue (timeout 0).
   * This and the four Start*Task functions below share one shape: CubeMX
   * generates the empty task function, and its body only calls the member's
   * X_TaskEntry, which never returns. */
  JackAudio_TaskEntry(argument);   /* never returns */
  /* USER CODE END 5 */
}

void StartTomTask(void *argument)
{
  /* USER CODE BEGIN StartTomTask */
  /* TEAM CODE (integration: Brendon): run Tom's TomTask */
  /* TomTask (AboveNormal, 1024 words): owns I2S3 and its DMA (the speakers).
   * On each HALF / FULL flag it refills that 4 ms half: playback blocks from
   * audioBlockQueue (32 kHz upsampled, or 48 kHz), a tune or a test pattern,
   * then volume and the speaker crossover. Commands arrive on tomCmdQueue
   * with TOM_CMD_FLAG. */
  Tom_TaskEntry(argument);   /* never returns */
  /* USER CODE END StartTomTask */
}

void StartJackStorageTask(void *argument)
{
  /* USER CODE BEGIN StartJackStorageTask */
  /* TEAM CODE (integration: Brendon): run Jack's JackStorageTask */
  /* JackStorageTask (Normal, 1024 words): the only task that touches the SD
   * card (SDIO + FatFs). It records pcmFrameQueue into RECnn.WAV files, plays
   * a WAV as AudioBlock_t pointers on audioBlockQueue, answers list and status
   * requests, deletes files, has FxRenderTask make the effect files and hands
   * the card to USB when asked. Commands arrive on jackCmdQueue. */
  JackStorage_TaskEntry(argument);   /* never returns */
  /* USER CODE END StartJackStorageTask */
}

void StartBrendonTask(void *argument)
{
  /* USER CODE BEGIN StartBrendonTask */
  /* TEAM CODE (integration: Brendon): run Brendon's BrendonTask */
  /* BrendonTask (BelowNormal, 768 words): owns I2C1 (the fuel gauge), the
   * charger pins and the USB device. It publishes the battery once a second
   * on batteryQueue, answers the debug screen's commands on brendonCmdQueue
   * and starts USB only while VBUS is present. */
  Brendon_TaskEntry(argument);   /* never returns */
  /* USER CODE END StartBrendonTask */
}

void StartTonyTask(void *argument)
{
  /* USER CODE BEGIN StartTonyTask */
  /* TEAM CODE (integration: Brendon): run Tony's TonyTask */
  /* TonyTask (Low, 768 words): owns SPI1 (the TFT screen), ADC1 (touch), the
   * rotary encoder (TIM3) and the buttons. It scans the inputs every 10 ms,
   * sends commands to Jack and Tom, and draws the screens from the status
   * messages it receives. */
  Tony_TaskEntry(argument);   /* never returns */
  /* USER CODE END StartTonyTask */
}

void HAL_TIM_PeriodElapsedCallback(TIM_HandleTypeDef *htim)
{
  if (htim->Instance == TIM5)
  {
    HAL_IncTick();
  }
}

void Error_Handler(void)
{
  __disable_irq();
  while (1)
  {
  }
}

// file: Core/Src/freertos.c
/* USER CODE BEGIN Header */
/**
  ******************************************************************************
  * File Name          : freertos.c
  * Description        : Code for freertos applications
  ******************************************************************************
  * @attention
  *
  * Copyright (c) 2026 STMicroelectronics.
  * All rights reserved.
  *
  * This software is licensed under terms that can be found in the LICENSE file
  * in the root directory of this software component.
  * If no LICENSE file comes with this software, it is provided AS-IS.
  *
  ******************************************************************************
  */
/* USER CODE END Header */

#include "FreeRTOS.h"
#include "task.h"
#include "main.h"

/* USER CODE BEGIN Includes */
/* TEAM CODE (integration: Brendon): HAL header for the stack-overflow hook's GPIO calls */
/* The team's only code in this CubeMX file is the stack-overflow hook
 * (USER CODE 4) and the variable it fills. The tasks are created in main.c,
 * the queues in app_rtos.c. */
#include "stm32f4xx_hal.h"
/* USER CODE END Includes */

/* USER CODE BEGIN Variables */
/* TEAM CODE (integration: Brendon): name of the task that overflowed, for the debugger */
/* Name of the task that overflowed its stack — read it in the debugger
 * (Live Expressions / Watch) after the board halts with LD2 flashing. */
volatile const char *g_stack_overflow_task = NULL;
/* USER CODE END Variables */

/* Hook prototypes */
void vApplicationStackOverflowHook(xTaskHandle xTask, signed char *pcTaskName);

/* USER CODE BEGIN 4 */
/* TEAM CODE (integration: Brendon): stack-overflow hook body (stop, save the task name, blink LD2); the function shell and its first comment are the CubeMX default */
void vApplicationStackOverflowHook(xTaskHandle xTask, signed char *pcTaskName)
{
   /* Run time stack overflow checking is performed if
   configCHECK_FOR_STACK_OVERFLOW is defined to 1 or 2. This hook function is
   called if a stack overflow is detected. */
   (void)xTask;
   /* How FreeRTOS notices: configCHECK_FOR_STACK_OVERFLOW is 2 here
    * (FreeRTOSConfig.h). Each task's stack is filled with the byte 0xA5 when
    * the task is created, and every time a task is switched out the kernel
    * checks that the last 16 bytes at the far end of its stack still hold
    * 0xA5. If the task ever used that much stack, they no longer do and this
    * hook runs (inside the task switch, so it must not use the RTOS). An
    * overflow that jumps past those 16 bytes can be missed, which is why the
    * debug screen's System page also shows each task's free stack. */
   /* Never return: the offending stack has already been corrupted. Stop the
    * scheduler and every ISR, park the task name for the debugger and flash
    * LD2 (PA5 — shared with SPI1 SCK, harmless once halted) fast forever. */
   __disable_irq();
   g_stack_overflow_task = (const char *)pcTaskName;
   GPIO_InitTypeDef g = {0};
   g.Pin = GPIO_PIN_5; g.Mode = GPIO_MODE_OUTPUT_PP; g.Pull = GPIO_NOPULL; g.Speed = GPIO_SPEED_FREQ_LOW;
   HAL_GPIO_Init(GPIOA, &g);
   for (;;) {
     HAL_GPIO_TogglePin(GPIOA, GPIO_PIN_5);
     for (volatile uint32_t i = 0; i < 400000U; i++) { __NOP(); }   /* ~70 ms at 72 MHz, no SysTick needed */
   }
}
/* USER CODE END 4 */
